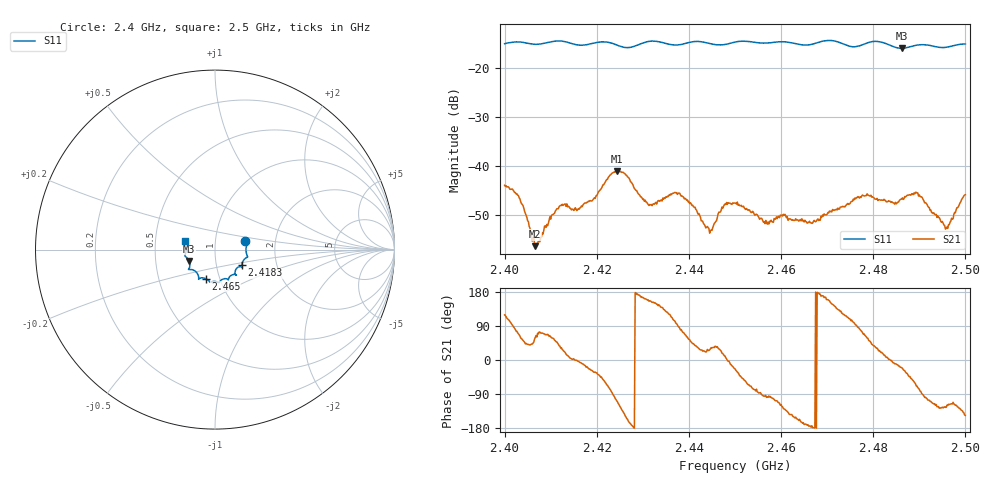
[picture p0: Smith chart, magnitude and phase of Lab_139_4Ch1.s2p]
# Hz S RI R 50
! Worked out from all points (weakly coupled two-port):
!   601 points, 2.4 GHz to 2.5 GHz, reference 50 ohm
!   highest |S21| = -41.07 dB at 2.4243 GHz (marker M1); lowest = -56.4 dB at 2.4067 GHz (marker M2)
!   lowest |S11| = -16.1 dB at 2.4862 GHz (marker M3), VSWR 1.37, Z = 37.2 - j4.79 ohm
!   |S11| at or under -10 dB: start of sweep to end of sweep
!   S12 and S22 are empty: the file has one direction only
!   S11 on the Smith chart (normalised r, x): 2.4 GHz: 1.40, +0.13; 2.4183 GHz: 1.33, -0.24; 2.465 GHz: 0.86, -0.28; 2.5 GHz: 0.71, +0.07
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2.4e9  0.1687 0.0463  -0.00307 0.00553  0 0  0 0
2.403167e9  0.1795 0.0322  0.00187 0.00431  0 0  0 0
2.406667e9  0.1723 0.0012  0.000758 0.00131  0 0  0 0
2.412e9  0.182 -0.0413  0.00314 0.00232  0 0  0 0
2.416667e9  0.1545 -0.0678  0.00385 -0.000551  0 0  0 0
2.418333e9  0.1497 -0.0869  0.00395 -0.00175  0 0  0 0
2.424333e9  0.1406 -0.095  -0.00269 -0.00842  0 0  0 0
2.431167e9  0.1171 -0.1422  -0.00374 0.00147  0 0  0 0
2.433333e9  0.1178 -0.141  -0.00354 0.00264  0 0  0 0
2.438167e9  0.0818 -0.1507  0.000925 0.00497  0 0  0 0
2.444667e9  0.0644 -0.1627  0.00191 0.00108  0 0  0 0
2.447667e9  0.0384 -0.167  0.00392 0.000777  0 0  0 0
2.45e9  0.0256 -0.1799  0.00383 -0.00165  0 0  0 0
2.456833e9  -0.00794 -0.1774  -0.000401 -0.00266  0 0  0 0
2.465e9  -0.0524 -0.1613  -0.00263 -0.000454  0 0  0 0
2.466667e9  -0.0712 -0.1572  -0.00257 -0.000289  0 0  0 0
2.478167e9  -0.1348 -0.1109  0.00206 0.00447  0 0  0 0
2.483333e9  -0.1412 -0.0968  0.0044 0.000134  0 0  0 0
2.486167e9  -0.1437 -0.0629  0.00429 -0.00159  0 0  0 0
2.489667e9  -0.1652 -0.0379  0.00156 -0.00505  0 0  0 0
2.496e9  -0.1603 0.0159  -0.00116 -0.00208  0 0  0 0
2.5e9  -0.1671 0.047  -0.0042 -0.00283  0 0  0 0
